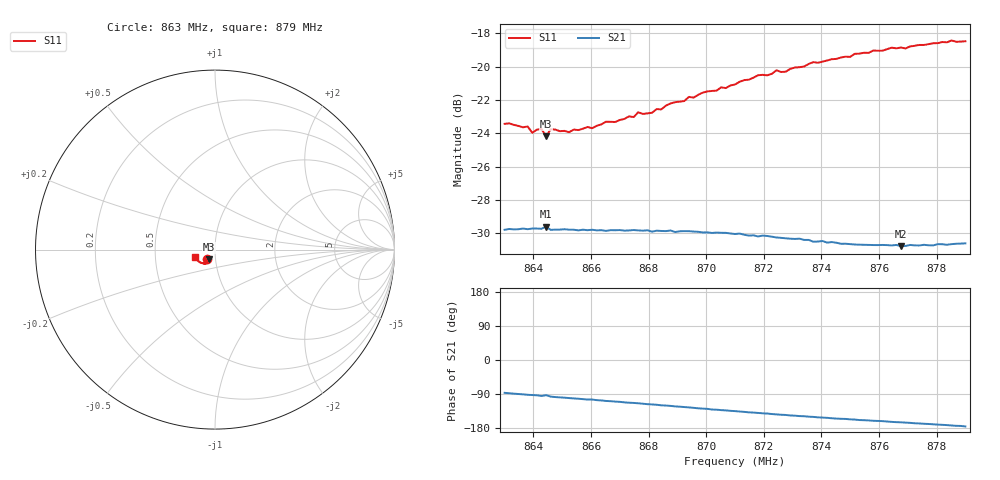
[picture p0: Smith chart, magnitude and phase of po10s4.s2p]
# HZ S RI R 50
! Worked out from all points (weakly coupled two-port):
!   101 points, 863 MHz to 879 MHz, reference 50 ohm
!   highest |S21| = -29.62 dB at 864.44 MHz (marker M1); lowest = -30.8 dB at 876.76 MHz (marker M2)
!   lowest |S11| = -24.2 dB at 864.44 MHz (marker M3), VSWR 1.13, Z = 46.7 - j4.96 ohm
!   |S11| at or under -10 dB: start of sweep to end of sweep
!   S12 and S22 are empty: the file has one direction only
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8.63e8  -0.0434 -0.0515  0.00189 -0.0323  0 0  0 0
8.638e8  -0.04 -0.0526  -0.00102 -0.0325  0 0  0 0
8.6396e8  -0.0373 -0.0511  -0.00141 -0.0326  0 0  0 0
8.6428e8  -0.0361 -0.0541  -0.00281 -0.0324  0 0  0 0
8.6444e8  -0.0319 -0.053  -0.00162 -0.033  0 0  0 0
8.646e8  -0.0356 -0.0542  -0.00375 -0.0321  0 0  0 0
8.6524e8  -0.0335 -0.054  -0.00587 -0.0318  0 0  0 0
8.6572e8  -0.0325 -0.0564  -0.00744 -0.0315  0 0  0 0
8.6748e8  -0.0313 -0.0633  -0.0128 -0.0297  0 0  0 0
8.6764e8  -0.0329 -0.0651  -0.0132 -0.0294  0 0  0 0
8.6796e8  -0.0321 -0.0649  -0.0144 -0.0288  0 0  0 0
8.6844e8  -0.0343 -0.066  -0.0159 -0.0279  0 0  0 0
8.694e8  -0.0382 -0.0716  -0.0184 -0.0262  0 0  0 0
8.71e8  -0.0457 -0.0757  -0.0222 -0.0222  0 0  0 0
8.718e8  -0.055 -0.0765  -0.0235 -0.02  0 0  0 0
8.7212e8  -0.0539 -0.0772  -0.0242 -0.0194  0 0  0 0
8.7244e8  -0.0596 -0.0773  -0.0247 -0.0182  0 0  0 0
8.7276e8  -0.0576 -0.0776  -0.025 -0.0175  0 0  0 0
8.7372e8  -0.0692 -0.0766  -0.0258 -0.0148  0 0  0 0
8.7644e8  -0.0942 -0.0644  -0.0278 -0.00835  0 0  0 0
8.7676e8  -0.0964 -0.0613  -0.0278 -0.00773  0 0  0 0
8.79e8  -0.1123 -0.04  -0.0294 -0.0024  0 0  0 0
